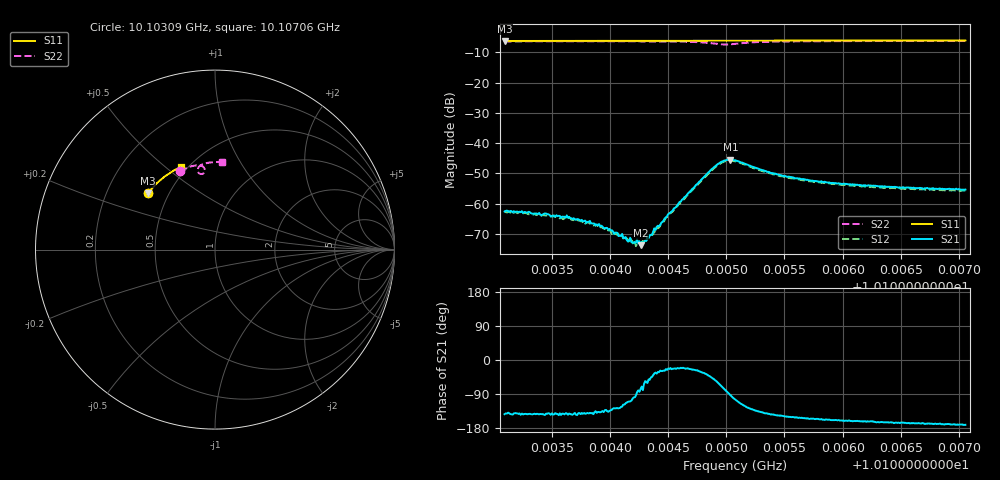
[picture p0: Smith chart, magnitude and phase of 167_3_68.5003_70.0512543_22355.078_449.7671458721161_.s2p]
#  HZ  S  RI  R  50.00
! Rohde & Schwarz Vector Network Analyzer
! Rohde-Schwarz,ZNB20-2Port,1311601062101988,3.16
! Created: UTC 3/20/2024, 5:11:11 PM
! freq[Hz]  re:S11  im:S11  re:S21  im:S21  re:S12  im:S12  re:S22  im:S22
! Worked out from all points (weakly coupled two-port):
!   401 points, 10.10309 GHz to 10.10706 GHz, reference 50 ohm
!   highest |S21| = -45.47 dB at 10.10504 GHz (marker M1); lowest = -73.8 dB at 10.10426 GHz (marker M2)
!   lowest |S11| = -6.2 dB at 10.10309 GHz (marker M3), VSWR 2.91, Z = 19.2 + j15.8 ohm
!   |S11| at or under -10 dB: nowhere
!   |S22| runs from -7.4 to -6.2 dB; largest |S21 - S12| = 0.00056
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1.0103094e10  -0.3745 0.3131  -0.00059 -0.000445  -0.000526 -0.00048  -0.1943 0.4394
1.0103451e10  -0.361 0.3301  -0.000534 -0.000423  -0.00047 -0.000421  -0.1727 0.4492
1.010351e10  -0.3586 0.3329  -0.000515 -0.000371  -0.00046 -0.000422  -0.1688 0.4509
1.0103589e10  -0.3555 0.3367  -0.000475 -0.000379  -0.000411 -0.000392  -0.1637 0.4529
1.0103639e10  -0.3536 0.339  -0.000473 -0.000341  -0.000427 -0.000401  -0.1607 0.4541
1.0103758e10  -0.3488 0.3444  -0.000412 -0.000345  -0.000384 -0.000347  -0.1529 0.4571
1.0103906e10  -0.3426 0.3509  -0.000336 -0.00031  -0.000293 -0.00032  -0.143 0.4605
1.0103995e10  -0.339 0.355  -0.000267 -0.000272  -0.000225 -0.000288  -0.1367 0.4623
1.0104203e10  -0.3301 0.3639  -3.49e-05 -0.000224  -2.89e-05 -0.000207  -0.1216 0.4664
1.0104243e10  -0.3283 0.3655  3.75e-05 -0.000216  3.37e-05 -0.000207  -0.1187 0.4671
1.0104263e10  -0.3275 0.3665  4.75e-05 -0.000199  7.57e-05 -0.000195  -0.117 0.4673
1.0104312e10  -0.3253 0.3686  0.00013 -0.000202  0.000139 -0.0002  -0.1131 0.4681
1.0104421e10  -0.3206 0.3731  0.000357 -0.000226  0.000357 -0.000177  -0.1037 0.4695
1.01045e10  -0.317 0.3765  0.000618 -0.000258  0.000595 -0.000195  -0.0965 0.4698
1.0104877e10  -0.2996 0.3913  0.00254 -0.00275  0.00266 -0.00237  -0.0564 0.4436
1.0104966e10  -0.2956 0.3945  0.0016 -0.00469  0.00195 -0.00437  -0.0654 0.4243
1.0105035e10  -0.2924 0.397  -0.000244 -0.00532  0.000212 -0.00511  -0.0834 0.4221
1.0105075e10  -0.2907 0.3986  -0.00125 -0.00504  -0.000736 -0.00494  -0.0914 0.4278
1.0105421e10  -0.2741 0.4114  -0.00256 -0.00177  -0.00228 -0.00191  -0.0775 0.4709
1.0105738e10  -0.2584 0.4226  -0.00217 -0.00101  -0.002 -0.00116  -0.0517 0.4807
1.0106402e10  -0.224 0.4436  -0.00183 -0.000492  -0.00168 -0.000637  -0.00459 0.4877
1.0107055e10  -0.1886 0.4611  -0.00168 -0.000263  -0.00158 -0.000421  0.039 0.4882
